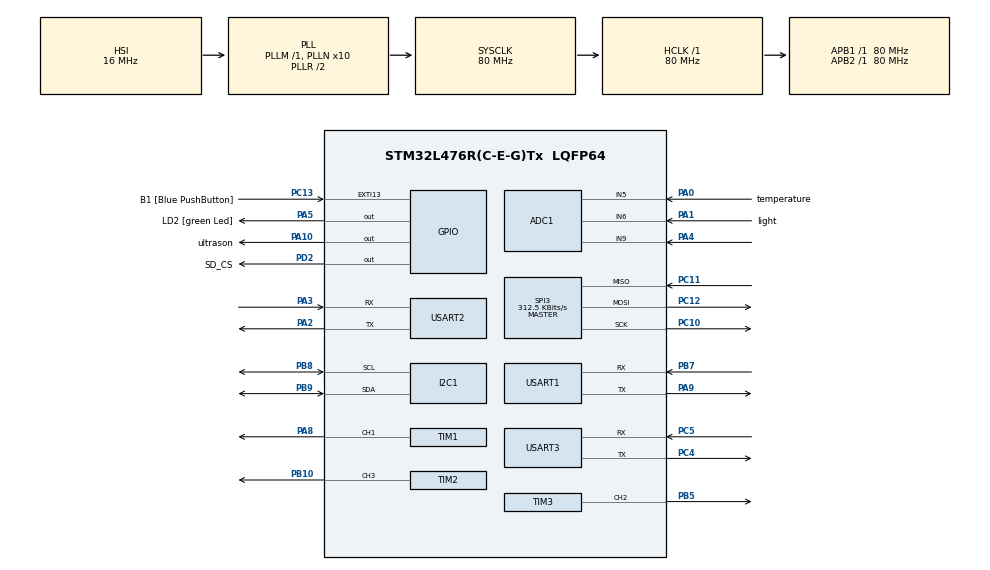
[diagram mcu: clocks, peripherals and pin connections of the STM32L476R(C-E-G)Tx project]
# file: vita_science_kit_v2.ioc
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ADC1.Channel-2\#ChannelRegularConversion=ADC_CHANNEL_5
ADC1.Channel-3\#ChannelRegularConversion=ADC_CHANNEL_6
ADC1.Channel-4\#ChannelRegularConversion=ADC_CHANNEL_9
ADC1.ClockPrescaler=ADC_CLOCK_ASYNC_DIV10
ADC1.ContinuousConvMode=ENABLE
ADC1.DMAContinuousRequests=ENABLE
ADC1.EOCSelection=ADC_EOC_SINGLE_CONV
ADC1.EnableRegularConversion=ENABLE
ADC1.NbrOfConversion=3
ADC1.NbrOfConversionFlag=1
ADC1.OffsetNumber-2\#ChannelRegularConversion=ADC_OFFSET_NONE
ADC1.OffsetNumber-3\#ChannelRegularConversion=ADC_OFFSET_NONE
ADC1.OffsetNumber-4\#ChannelRegularConversion=ADC_OFFSET_NONE
ADC1.Rank-2\#ChannelRegularConversion=1
ADC1.Rank-3\#ChannelRegularConversion=2
ADC1.Rank-4\#ChannelRegularConversion=3
ADC1.SamplingTime-2\#ChannelRegularConversion=ADC_SAMPLETIME_24CYCLES_5
ADC1.SamplingTime-3\#ChannelRegularConversion=ADC_SAMPLETIME_24CYCLES_5
ADC1.SamplingTime-4\#ChannelRegularConversion=ADC_SAMPLETIME_24CYCLES_5
ADC1.master=1
Dma.ADC1.1.Direction=DMA_PERIPH_TO_MEMORY
Dma.ADC1.1.Instance=DMA2_Channel3
Dma.ADC1.1.MemDataAlignment=DMA_MDATAALIGN_HALFWORD
Dma.ADC1.1.MemInc=DMA_MINC_ENABLE
Dma.ADC1.1.Mode=DMA_CIRCULAR
Dma.ADC1.1.PeriphDataAlignment=DMA_PDATAALIGN_HALFWORD
Dma.ADC1.1.PeriphInc=DMA_PINC_DISABLE
Dma.ADC1.1.Priority=DMA_PRIORITY_LOW
Dma.Request0=TIM2_CH3
Dma.Request1=ADC1
Dma.Request2=USART1_RX
Dma.Request3=USART1_TX
Dma.TIM2_CH3.0.Direction=DMA_MEMORY_TO_PERIPH
Dma.TIM2_CH3.0.Instance=DMA1_Channel1
Dma.TIM2_CH3.0.MemDataAlignment=DMA_MDATAALIGN_WORD
Dma.TIM2_CH3.0.MemInc=DMA_MINC_ENABLE
Dma.TIM2_CH3.0.Mode=DMA_NORMAL
Dma.TIM2_CH3.0.PeriphDataAlignment=DMA_PDATAALIGN_WORD
Dma.TIM2_CH3.0.PeriphInc=DMA_PINC_DISABLE
Dma.TIM2_CH3.0.Priority=DMA_PRIORITY_VERY_HIGH
Dma.USART1_RX.2.Direction=DMA_PERIPH_TO_MEMORY
Dma.USART1_RX.2.Instance=DMA1_Channel5
Dma.USART1_RX.2.MemDataAlignment=DMA_MDATAALIGN_BYTE
Dma.USART1_RX.2.MemInc=DMA_MINC_ENABLE
Dma.USART1_RX.2.Mode=DMA_NORMAL
Dma.USART1_RX.2.PeriphDataAlignment=DMA_PDATAALIGN_BYTE
Dma.USART1_RX.2.PeriphInc=DMA_PINC_DISABLE
Dma.USART1_RX.2.Priority=DMA_PRIORITY_LOW
Dma.USART1_TX.3.Direction=DMA_MEMORY_TO_PERIPH
Dma.USART1_TX.3.Instance=DMA1_Channel4
Dma.USART1_TX.3.MemDataAlignment=DMA_MDATAALIGN_BYTE
Dma.USART1_TX.3.MemInc=DMA_MINC_ENABLE
Dma.USART1_TX.3.Mode=DMA_NORMAL
Dma.USART1_TX.3.PeriphDataAlignment=DMA_PDATAALIGN_BYTE
Dma.USART1_TX.3.PeriphInc=DMA_PINC_DISABLE
Dma.USART1_TX.3.Priority=DMA_PRIORITY_LOW
FREERTOS.Mutexes01=I2CMutex,Dynamic,NULL,Available
FREERTOS.Tasks01=defaultTask,24,1024,StartDefaultTask,Default,NULL,Dynamic,NULL,NULL;JukeboxTask,8,512,StartJukeboxTask,Default,NULL,Dynamic,NULL,NULL;CommandTask,8,512,StartCommandTask,Default,NULL,Dynamic,NULL,NULL;LedTask,8,128,StartLedTask,Default,NULL,Dynamic,NULL,NULL;SensorTask,8,128,StartSensorTask,Default,NULL,Dynamic,NULL,NULL;LcdTask,8,512,StartLCDMng,Default,NULL,Dynamic,NULL,NULL
FREERTOS.configGENERATE_RUN_TIME_STATS=1
FREERTOS.configTOTAL_HEAP_SIZE=16000
FREERTOS.configUSE_NEWLIB_REENTRANT=1
FREERTOS.configUSE_STATS_FORMATTING_FUNCTIONS=1
I2C1.Timing=0x10D19CE4
Mcu.Family=STM32L4
Mcu.Name=STM32L476R(C-E-G)Tx
Mcu.Package=LQFP64
NVIC.DMA1_Channel1_IRQn=true\:5\:0\:false\:false\:true\:true\:false\:true\:true
NVIC.DMA1_Channel4_IRQn=true\:5\:0\:false\:false\:true\:true\:false\:true\:true
NVIC.DMA1_Channel5_IRQn=true\:5\:0\:false\:false\:true\:true\:false\:true\:true
NVIC.DMA2_Channel3_IRQn=true\:5\:0\:false\:false\:true\:true\:false\:true\:true
NVIC.PriorityGroup=NVIC_PRIORITYGROUP_4
NVIC.TIM4_IRQn=true\:15\:0\:false\:false\:true\:false\:false\:true\:true
NVIC.TIM5_IRQn=true\:5\:0\:false\:false\:true\:true\:true\:true\:true
NVIC.TIM7_IRQn=true\:5\:0\:false\:false\:true\:true\:true\:true\:true
NVIC.TimeBase=TIM4_IRQn
NVIC.TimeBaseIP=TIM4
NVIC.USART2_IRQn=true\:5\:0\:false\:false\:true\:true\:true\:true\:true
PA0.GPIO_Label=temperature
PA0.Signal=ADCx_IN5
PA1.GPIO_Label=light
PA1.Signal=ADCx_IN6
PA10.GPIO_Label=ultrason
PA10.GPIO_ModeDefaultOutputPP=GPIO_MODE_OUTPUT_PP
PA10.GPIO_PuPd=GPIO_NOPULL
PA10.Signal=GPIO_Output
PA13\ (JTMS-SWDIO).GPIO_Label=TMS
PA13\ (JTMS-SWDIO).Mode=Serial_Wire
PA13\ (JTMS-SWDIO).Signal=SYS_JTMS-SWDIO
PA14\ (JTCK-SWCLK).GPIO_Label=TCK
PA14\ (JTCK-SWCLK).Mode=Serial_Wire
PA14\ (JTCK-SWCLK).Signal=SYS_JTCK-SWCLK
PA2.Mode=Asynchronous
PA2.Signal=USART2_TX
PA3.Mode=Asynchronous
PA3.Signal=USART2_RX
PA4.Signal=ADCx_IN9
PA5.GPIO_Label=LD2 [green Led]
PA5.GPIO_ModeDefaultOutputPP=GPIO_MODE_OUTPUT_PP
PA5.GPIO_PuPd=GPIO_NOPULL
PA5.GPIO_Speed=GPIO_SPEED_FREQ_LOW
PA5.Signal=GPIO_Output
PA8.Signal=S_TIM1_CH1
PA9.Mode=Asynchronous
PA9.Signal=USART1_TX
PB10.Signal=S_TIM2_CH3
PB3\ (JTDO-TRACESWO).GPIO_Label=SWO
PB3\ (JTDO-TRACESWO).Signal=SYS_JTDO-SWO
PB5.Signal=S_TIM3_CH2
PB7.Mode=Asynchronous
PB7.Signal=USART1_RX
PB8.Mode=I2C
PB8.Signal=I2C1_SCL
PB9.Mode=I2C
PB9.Signal=I2C1_SDA
PC10.GPIO_PuPd=GPIO_PULLUP
PC10.Mode=Full_Duplex_Master
PC10.Signal=SPI3_SCK
PC11.GPIO_PuPd=GPIO_PULLUP
PC11.Mode=Full_Duplex_Master
PC11.Signal=SPI3_MISO
PC12.GPIO_PuPd=GPIO_PULLUP
PC12.Mode=Full_Duplex_Master
PC12.Signal=SPI3_MOSI
PC13.GPIO_Label=B1 [Blue PushButton]
PC13.GPIO_ModeDefaultEXTI=GPIO_MODE_IT_FALLING
PC13.GPIO_PuPd=GPIO_NOPULL
PC13.Signal=GPXTI13
PC14-OSC32_IN\ (PC14).Mode=LSE-External-Oscillator
PC14-OSC32_IN\ (PC14).Signal=RCC_OSC32_IN
PC15-OSC32_OUT\ (PC15).Mode=LSE-External-Oscillator
PC15-OSC32_OUT\ (PC15).Signal=RCC_OSC32_OUT
PC4.Mode=Asynchronous
PC4.Signal=USART3_TX
PC5.Mode=Asynchronous
PC5.Signal=USART3_RX
PD2.GPIO_Label=SD_CS
PD2.Signal=GPIO_Output
PH0-OSC_IN\ (PH0).Signal=RCC_OSC_IN
PH1-OSC_OUT\ (PH1).Signal=RCC_OSC_OUT
ProjectManager.HeapSize=0x200
ProjectManager.StackSize=0x400
ProjectManager.TargetToolchain=STM32CubeIDE
RCC.ADCFreq_Value=64000000
RCC.AHBFreq_Value=80000000
RCC.APB1Freq_Value=80000000
RCC.APB1TimFreq_Value=80000000
RCC.APB2Freq_Value=80000000
RCC.APB2TimFreq_Value=80000000
RCC.CortexFreq_Value=80000000
RCC.HCLKFreq_Value=80000000
RCC.HSE_VALUE=8000000
RCC.HSI_VALUE=16000000
RCC.MSI_VALUE=4000000
RCC.PLLN=10
RCC.PLLSourceVirtual=RCC_PLLSOURCE_HSI
RCC.PREFETCH_ENABLE=1
RCC.SYSCLKFreq_VALUE=80000000
RCC.SYSCLKSource=RCC_SYSCLKSOURCE_PLLCLK
RCC.USBFreq_Value=64000000
RCC.VCOOutputFreq_Value=160000000
SH.ADCx_IN5.0=ADC1_IN5,IN5-Single-Ended
SH.ADCx_IN6.0=ADC1_IN6,IN6-Single-Ended
SH.ADCx_IN9.0=ADC1_IN9,IN9-Single-Ended
SH.S_TIM1_CH1.0=TIM1_CH1,PWM Generation1 CH1
SH.S_TIM2_CH3.0=TIM2_CH3,PWM Generation3 CH3
SH.S_TIM3_CH2.0=TIM3_CH2,PWM Generation2 CH2
SPI3.BaudRatePrescaler=SPI_BAUDRATEPRESCALER_256
SPI3.CalculateBaudRate=312.5 KBits/s
SPI3.DataSize=SPI_DATASIZE_8BIT
SPI3.Direction=SPI_DIRECTION_2LINES
SPI3.Mode=SPI_MODE_MASTER
SPI3.VirtualType=VM_MASTER
TIM1.Channel-PWM\ Generation1\ CH1=TIM_CHANNEL_1
TIM1.Period=200-1
TIM1.Prescaler=80-1
TIM1.Pulse-PWM\ Generation1\ CH1=100
TIM2.Channel-PWM\ Generation3\ CH3=TIM_CHANNEL_3
TIM2.Period=100
TIM3.Channel-PWM\ Generation2\ CH2=TIM_CHANNEL_2
TIM3.Period=20000-1
TIM3.Prescaler=80-1
TIM5.Period=3000
TIM5.Prescaler=8000-1
TIM7.Period=10000
TIM7.Prescaler=8000-1
TIM8.Prescaler=80-1
USART1.VirtualMode-Asynchronous=VM_ASYNC
USART2.VirtualMode-Asynchronous=VM_ASYNC
USART3.VirtualMode-Asynchronous=VM_ASYNC
VP_FREERTOS_VS_CMSIS_V2.Mode=CMSIS_V2
VP_SYS_VS_tim4.Mode=TIM4
VP_TIM1_VS_ClockSourceINT.Mode=Internal
VP_TIM2_VS_ClockSourceINT.Mode=Internal
VP_TIM3_VS_ClockSourceINT.Mode=Internal
VP_TIM5_VS_ClockSourceINT.Mode=Internal
VP_TIM7_VS_ClockSourceINT.Mode=Enable_Timer
VP_TIM8_VS_ClockSourceINT.Mode=Internal
board=NUCLEO-L476RG

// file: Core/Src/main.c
/* USER CODE BEGIN Header */
/**
  ******************************************************************************
  * @file           : main.c
  * @brief          : Main program body
  ******************************************************************************
  * @attention
  *
  * Copyright (c) 2024 STMicroelectronics.
  * All rights reserved.
  *
  * This software is licensed under terms that can be found in the LICENSE file
  * in the root directory of this software component.
  * If no LICENSE file comes with this software, it is provided AS-IS.
  *
  ******************************************************************************
  */
/* USER CODE END Header */
#include "main.h"
#include "cmsis_os.h"
#include "adc.h"
#include "dma.h"
#include "i2c.h"
#include "spi.h"
#include "tim.h"
#include "usart.h"
#include "gpio.h"

/* USER CODE BEGIN Includes */
#include <string.h>
#include <stdio.h>
#include "buzzer.h"
#include "ds1307.h"
#include "lcd16x2.h"

#include "servo.h"
#include "ws2813.h"
#include "cli.h"
#include "local_time_manager.h"
#include "fs_mng.h"
#include "gnss.h"
/* USER CODE END Includes */

/* USER CODE BEGIN PV */
//uint8_t strBuffer[40];
uint32_t ledBuffer[WS2813_DMA_BUFFER_SIZE];
extern ts_buzzer buzzer;
extern ts_servo servo;
extern WS2813_HandlerTypeDef ledhandler;
extern ts_ltm LocalTime;
extern GNSS_Handler GNSS_Handle;
/* USER CODE END PV */

void SystemClock_Config(void);
void MX_FREERTOS_Init(void);
/* USER CODE BEGIN PFP */
void buzzer_bip(ts_buzzer* buz);
/* USER CODE END PFP */

int main(void)
{

  /* MCU Configuration--------------------------------------------------------*/

  /* Reset of all peripherals, Initializes the Flash interface and the Systick. */
  HAL_Init();

  /* Configure the system clock */
  SystemClock_Config();

  /* Initialize all configured peripherals */
  MX_GPIO_Init();
  MX_DMA_Init();
  MX_I2C1_Init();
  MX_ADC1_Init();
  MX_TIM2_Init();
  MX_TIM1_Init();
  MX_USART2_UART_Init();
  MX_TIM3_Init();
  MX_TIM8_Init();
  MX_TIM5_Init();
  MX_SPI3_Init();
  MX_TIM7_Init();
  MX_USART1_UART_Init();
  MX_USART3_UART_Init();
  /* USER CODE BEGIN 2 */
  MX_FATFS_Init();

  WS2813_eInit(&ledhandler, &htim2, ledBuffer);
  LtmInit(&htim7);
  //WS2813_eSetColor(&ledhandler,WS2813Orange,0);

//  ts_lcd16x2 lcd;
//  lcd.hi2c = &hi2c1;
//  lcd.u8adress = LCD16x2_ADDRESS;
//  lcd.u8col = 16;
//  lcd.u8lines = 2;
//  lcd.u8dotsize=1;
//  elcd16x2_init(&lcd);
  //sprintf((char*)strBuffer, "TEST LIGNE 1    ");
  //elcd16x2_writeMsg(&lcd, strBuffer, strlen(strBuffer), 0, LCD16x2_LINE1);
  //sprintf((char*)strBuffer, "TEST LIGNE 2    ");
  //elcd16x2_writeMsg(&lcd, strBuffer, strlen(strBuffer), 0, LCD16x2_LINE2);
  //HAL_Delay(10000);
  //for(uint8_t i=0;i<100;i+=7)
  //{	  elcd16x2_DispLoading(&lcd, i);
  //	  HAL_Delay(1000);
  //}

  servo_Init(&servo, &htim3, TIM_CHANNEL_2, 600,  2600, 0, 180 );
  //servo_TestAmp(&servo, 1000);

  buzzer_eInit(&buzzer, &htim1, &htim5, TIM_CHANNEL_1);
  //buzzer_bip(&buzzer);
  //buzzer_vDemoTask(&buzzer);

  DS1307Init(&hi2c1);

  gnss_init(&GNSS_Handle, &huart1);

  fs_mng_Init();
  //LtmRefLocalTime();
  //CSVLoggerMng_test(&huart2);
  fs_mng_createDir("/scores");
  char mariofile[]="/scores/mario.sco";
  char zeldafile[]="/scores/zelda.sco";
  char pokemonfile[]="/scores/pokemon.sco";
  uint32_t fsize=0;
  if(fs_mng_fileExist(mariofile,&fsize)==FSMng_INTERNAL_ERROR)
  {
#ifdef BUZZER_MARIO
	  fs_mng_writeFile(mariofile, (void*)mario, sizeof(mario), FSMng_NewFile);
#endif
  }
  if(fs_mng_fileExist(zeldafile,&fsize)==FSMng_INTERNAL_ERROR)
  {
#ifdef BUZZER_ZELDA
	  fs_mng_writeFile(zeldafile, (void*)zelda, sizeof(zelda), FSMng_NewFile);
#endif
  }
  if(fs_mng_fileExist(pokemonfile,&fsize)==FSMng_INTERNAL_ERROR)
  {
#ifdef BUZZER_POKEMON
	  fs_mng_writeFile(pokemonfile, (void*)pokemon, sizeof(pokemon), FSMng_NewFile);
#endif
  }
  /* USER CODE END 2 */

  /* Init scheduler */
  osKernelInitialize();

  /* Call init function for freertos objects (in cmsis_os2.c) */
  MX_FREERTOS_Init();

  /* Start scheduler */
  osKernelStart();

  /* We should never get here as control is now taken by the scheduler */

  /* Infinite loop */
  /* USER CODE BEGIN WHILE */

//  int min_pwm=600; //us
//  int max_pwm=2600; //us
//  int pwm_value=min_pwm;
//  int step = 0;
//  uint32_t Time_1Hz = HAL_GetTick();
//  uint32_t Time_5Hz = HAL_GetTick();
//  uint32_t Time_2Hz = HAL_GetTick();
//  uint8_t ledstate = 0;
//  float fservoAngle = 0;
//  uint8_t servodir = 0;
//  float hcsr04dist= 0;
  while (1)
  {
    /* USER CODE END WHILE */

    /* USER CODE BEGIN 3 */
//	if(HAL_GetTick()-Time_2Hz>=500)
//	{
//		Time_2Hz = HAL_GetTick();
//		hcsr04dist = hcsr04_getDistance(&ultrasonic_sensor);
//	}
//	if(HAL_GetTick()-Time_5Hz>=200)
//	{
//		Time_5Hz = HAL_GetTick();
//		servo_SetAngle(&servo,fservoAngle);
//		if(servodir==0)
//		{
//			fservoAngle+=10;
//		}
//		else if(servodir==1)
//		{
//			fservoAngle-=10;
//		}
//		if(fservoAngle<=0)
//		{
//			servodir=0;
//			fservoAngle=0;
//		}
//		if(fservoAngle>=180)
//		{
//			servodir=1;
//			fservoAngle=180;
//		}
//	}
//	if(HAL_GetTick()-Time_1Hz>=1000)
//	{
//		Time_1Hz = HAL_GetTick();
//		if(ledstate==0)
//		{
//			WS2813_eSetColor(&ledhandler,WS2813Green,0);
//			ledstate = 1;
//		}
//		else if(ledstate==1)
//		{
//			WS2813_eSetColor(&ledhandler,WS2813Off,0);
//			ledstate = 0;
//		}
//		char datef[20];
//		dateFormat("dmy  H:i:s", getDateTime(), datef);
//		sprintf((char*)strBuffer, "dist:%3.1fcm     ",hcsr04dist);
//		elcd16x2_writeMsg(&lcd, strBuffer, strlen(strBuffer), 0, LCD16x2_LINE1);
//		elcd16x2_writeMsg(&lcd, datef, strlen(datef), 0, LCD16x2_LINE2);
//	}
  }
  /* USER CODE END 3 */
}

void SystemClock_Config(void)
{
  RCC_OscInitTypeDef RCC_OscInitStruct = {0};
  RCC_ClkInitTypeDef RCC_ClkInitStruct = {0};

  /** Configure the main internal regulator output voltage
  */
  if (HAL_PWREx_ControlVoltageScaling(PWR_REGULATOR_VOLTAGE_SCALE1) != HAL_OK)
  {
    Error_Handler();
  }

  /** Initializes the RCC Oscillators according to the specified parameters
  * in the RCC_OscInitTypeDef structure.
  */
  RCC_OscInitStruct.OscillatorType = RCC_OSCILLATORTYPE_HSI;
  RCC_OscInitStruct.HSIState = RCC_HSI_ON;
  RCC_OscInitStruct.HSICalibrationValue = RCC_HSICALIBRATION_DEFAULT;
  RCC_OscInitStruct.PLL.PLLState = RCC_PLL_ON;
  RCC_OscInitStruct.PLL.PLLSource = RCC_PLLSOURCE_HSI;
  RCC_OscInitStruct.PLL.PLLM = 1;
  RCC_OscInitStruct.PLL.PLLN = 10;
  RCC_OscInitStruct.PLL.PLLP = RCC_PLLP_DIV7;
  RCC_OscInitStruct.PLL.PLLQ = RCC_PLLQ_DIV2;
  RCC_OscInitStruct.PLL.PLLR = RCC_PLLR_DIV2;
  if (HAL_RCC_OscConfig(&RCC_OscInitStruct) != HAL_OK)
  {
    Error_Handler();
  }

  /** Initializes the CPU, AHB and APB buses clocks
  */
  RCC_ClkInitStruct.ClockType = RCC_CLOCKTYPE_HCLK|RCC_CLOCKTYPE_SYSCLK
                              |RCC_CLOCKTYPE_PCLK1|RCC_CLOCKTYPE_PCLK2;
  RCC_ClkInitStruct.SYSCLKSource = RCC_SYSCLKSOURCE_PLLCLK;
  RCC_ClkInitStruct.AHBCLKDivider = RCC_SYSCLK_DIV1;
  RCC_ClkInitStruct.APB1CLKDivider = RCC_HCLK_DIV1;
  RCC_ClkInitStruct.APB2CLKDivider = RCC_HCLK_DIV1;

  if (HAL_RCC_ClockConfig(&RCC_ClkInitStruct, FLASH_LATENCY_4) != HAL_OK)
  {
    Error_Handler();
  }
}

/* USER CODE BEGIN 4 */
int _write(int file, char *ptr, int len) {
  HAL_UART_Transmit(&huart2, (uint8_t *)ptr, len, HAL_MAX_DELAY);
  return len;
}

void buzzer_bip(ts_buzzer* buz)
{
	  buzzer_eStart(buz);
	  buzzer_eSetfrequency(buz,110*9);
	  HAL_Delay(200);
	  buzzer_eSetfrequency(buz,123.47*9);
	  HAL_Delay(200);
	  buzzer_eSetfrequency(buz,0);
	  buzzer_eStop(buz);
}
/* USER CODE END 4 */

void HAL_TIM_PeriodElapsedCallback(TIM_HandleTypeDef *htim)
{
  /* USER CODE BEGIN Callback 0 */
	  if (htim == &htim5 )
	  {
		 buzzer.u8BuzzerTbFlag = 1;
	  }
	  if (htim == &htim7 )
	  {
		  LocalTime.u32LocalTime++;
	  }
  /* USER CODE END Callback 0 */
  if (htim->Instance == TIM4)
  {
    HAL_IncTick();
  }
}

void Error_Handler(void)
{
  __disable_irq();
  while (1)
  {
  }
}

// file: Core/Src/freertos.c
/* USER CODE BEGIN Header */
/**
  ******************************************************************************
  * File Name          : freertos.c
  * Description        : Code for freertos applications
  ******************************************************************************
  * @attention
  *
  * Copyright (c) 2025 STMicroelectronics.
  * All rights reserved.
  *
  * This software is licensed under terms that can be found in the LICENSE file
  * in the root directory of this software component.
  * If no LICENSE file comes with this software, it is provided AS-IS.
  *
  ******************************************************************************
  */
/* USER CODE END Header */

#include "FreeRTOS.h"
#include "task.h"
#include "main.h"
#include "cmsis_os.h"

/* USER CODE BEGIN Includes */
#include "scores/scores.h"
#include "lcd16x2.h"
#include "i2c.h"
#include "hcsr04.h"
#include "tim.h"
#include "ds1307.h"
#include "local_time_manager.h"
#include "sensor_config.h"
#include "display_manager.h"
#include "csv_logger_mng.h"
/* USER CODE END Includes */

/* USER CODE BEGIN Variables */
extern ts_ltm LocalTime;
extern float fSensorValues[SensorCfg_sensorNb];
extern uint8_t u8EnableCSV;
/* USER CODE END Variables */
/* Definitions for defaultTask */
osThreadId_t defaultTaskHandle;
const osThreadAttr_t defaultTask_attributes = {
  .name = "defaultTask",
  .stack_size = 1024 * 4,
  .priority = (osPriority_t) osPriorityNormal,
};
/* Definitions for JukeboxTask */
osThreadId_t JukeboxTaskHandle;
const osThreadAttr_t JukeboxTask_attributes = {
  .name = "JukeboxTask",
  .stack_size = 512 * 4,
  .priority = (osPriority_t) osPriorityLow,
};
/* Definitions for CommandTask */
osThreadId_t CommandTaskHandle;
const osThreadAttr_t CommandTask_attributes = {
  .name = "CommandTask",
  .stack_size = 512 * 4,
  .priority = (osPriority_t) osPriorityLow,
};
/* Definitions for LedTask */
osThreadId_t LedTaskHandle;
const osThreadAttr_t LedTask_attributes = {
  .name = "LedTask",
  .stack_size = 128 * 4,
  .priority = (osPriority_t) osPriorityLow,
};
/* Definitions for SensorTask */
osThreadId_t SensorTaskHandle;
const osThreadAttr_t SensorTask_attributes = {
  .name = "SensorTask",
  .stack_size = 128 * 4,
  .priority = (osPriority_t) osPriorityLow,
};
/* Definitions for LcdTask */
osThreadId_t LcdTaskHandle;
const osThreadAttr_t LcdTask_attributes = {
  .name = "LcdTask",
  .stack_size = 512 * 4,
  .priority = (osPriority_t) osPriorityLow,
};
/* Definitions for I2CMutex */
osMutexId_t I2CMutexHandle;
const osMutexAttr_t I2CMutex_attributes = {
  .name = "I2CMutex"
};

void StartDefaultTask(void *argument);
void StartJukeboxTask(void *argument);
void StartCommandTask(void *argument);
void StartLedTask(void *argument);
void StartSensorTask(void *argument);
void StartLCDMng(void *argument);

void MX_FREERTOS_Init(void); /* (MISRA C 2004 rule 8.1) */

/* Hook prototypes */
void configureTimerForRunTimeStats(void);
unsigned long getRunTimeCounterValue(void);

/* USER CODE BEGIN 1 */
/* Functions needed when configGENERATE_RUN_TIME_STATS is on */
__weak void configureTimerForRunTimeStats(void)
{

}

__weak unsigned long getRunTimeCounterValue(void)
{
return 0;
}
/* USER CODE END 1 */

void MX_FREERTOS_Init(void) {
  /* Create the mutex(es) */
  /* creation of I2CMutex */
  I2CMutexHandle = osMutexNew(&I2CMutex_attributes);

  /* Create the thread(s) */
  /* creation of defaultTask */
  defaultTaskHandle = osThreadNew(StartDefaultTask, NULL, &defaultTask_attributes);

  /* creation of JukeboxTask */
  JukeboxTaskHandle = osThreadNew(StartJukeboxTask, NULL, &JukeboxTask_attributes);

  /* creation of CommandTask */
  CommandTaskHandle = osThreadNew(StartCommandTask, NULL, &CommandTask_attributes);

  /* creation of LedTask */
  LedTaskHandle = osThreadNew(StartLedTask, NULL, &LedTask_attributes);

  /* creation of SensorTask */
  SensorTaskHandle = osThreadNew(StartSensorTask, NULL, &SensorTask_attributes);

  /* creation of LcdTask */
  LcdTaskHandle = osThreadNew(StartLCDMng, NULL, &LcdTask_attributes);

}

void StartDefaultTask(void *argument)
{
  /* USER CODE BEGIN StartDefaultTask */
	uint8_t strBuffer[40];
	char datef[20];

//   float hcsr04dist = hcsr04_getDistance(&ultrasonic_sensor);

//	  lcd.hi2c = &hi2c1;
//	  lcd.u8adress = LCD16x2_ADDRESS;
//	  lcd.u8col = 16;
//	  lcd.u8lines = 2;
//	  lcd.u8dotsize=1;
//	  osMutexAcquire(I2CMutexHandle, 1000);
//	  elcd16x2_init(&lcd);
//	  osMutexRelease(I2CMutexHandle);
	  uint32_t Time_1Hz = HAL_GetTick();
	  float hcsr04dist= 0;
	  LtmRefLocalTime();

	ts_DataLog eData={eSensorList[SensorCfg_dist].header,eSensorList[SensorCfg_dist].unit,&fSensorValues[SensorCfg_dist],2};
	CSVLoggerMng_AddData(&eData);
	eData.pcDataName=eSensorList[SensorCfg_temp].header;
	eData.pcUnit    =eSensorList[SensorCfg_temp].unit;
	eData.pvDataVal=&fSensorValues[SensorCfg_temp];
	eData.u8Digitnb=0;
	CSVLoggerMng_AddData(&eData);
	eData.pcDataName=eSensorList[SensorCfg_lum].header;
	eData.pcUnit    =eSensorList[SensorCfg_lum].unit;
	eData.pvDataVal=&fSensorValues[SensorCfg_lum];
	eData.u8Digitnb=0;
	CSVLoggerMng_AddData(&eData);
	eData.pcDataName=eSensorList[SensorCfg_moist].header;
	eData.pcUnit    =eSensorList[SensorCfg_moist].unit;
	eData.pvDataVal=&fSensorValues[SensorCfg_moist];
	eData.u8Digitnb=1;
	CSVLoggerMng_AddData(&eData);
	CSVLoggerMng_Init(';', 1);
	uint32_t LastRecTime=0;
	uint32_t u32PeriodMs = 1000/iLogFrequency;

  /* Infinite loop */
  for(;;)
  {
	  if(u8EnableCSV==1 && (LocalTime.u32LocalTime-LastRecTime>=u32PeriodMs/1000))
	  {
		  LastRecTime = LocalTime.u32LocalTime;
		  CSVLoggerMng_Record();
	  }
		if(HAL_GetTick()-Time_1Hz>=1000)
		{
			Time_1Hz = HAL_GetTick();

//			sRTCDateTime dt;
//			ltm_UnixToDateTime(LocalTime.u32LocalTime, &dt);
//			dateFormat("dmy  H:i:s", dt, datef);
//			sprintf((char*)strBuffer, "dist:%3.1fcm     ",fSensorValues[SensorCfg_dist]);
//			osMutexAcquire(I2CMutexHandle, 100);
//			elcd16x2_writeMsg(&lcd, strBuffer, strlen(strBuffer), 0, LCD16x2_LINE1);
//			elcd16x2_writeMsg(&lcd, datef, strlen(datef), 0, LCD16x2_LINE2);
//			osMutexRelease(I2CMutexHandle);
		}
    osDelay(1);
  }
  /* USER CODE END StartDefaultTask */
}

void StartJukeboxTask(void *argument)
{
  /* USER CODE BEGIN StartJukeboxTask */
  /* Infinite loop */
  for(;;)
  {
	  buzzer_vJukeBoxTask();
	  osDelay(1000);
  }
  /* USER CODE END StartJukeboxTask */
}

void StartCommandTask(void *argument)
{
  /* USER CODE BEGIN StartCommandTask */
	vCommandConsoleTask(argument);
  /* Infinite loop */
  for(;;)
  {
    osDelay(1);
  }
  /* USER CODE END StartCommandTask */
}

void StartLedTask(void *argument)
{
  /* USER CODE BEGIN StartLedTask */
	WS2813_eProcess();
  /* Infinite loop */
  for(;;)
  {
    osDelay(1);
  }
  /* USER CODE END StartLedTask */
}

void StartSensorTask(void *argument)
{
  /* USER CODE BEGIN StartSensorTask */
	sensorCfg_eProcess();
  /* Infinite loop */
  for(;;)
  {
    osDelay(1);
  }
  /* USER CODE END StartSensorTask */
}

void StartLCDMng(void *argument)
{
  /* USER CODE BEGIN StartLCDMng */
  DispMng_eProcess(&hi2c1);
  /* Infinite loop */
  for(;;)
  {
    osDelay(1);
  }
  /* USER CODE END StartLCDMng */
}
